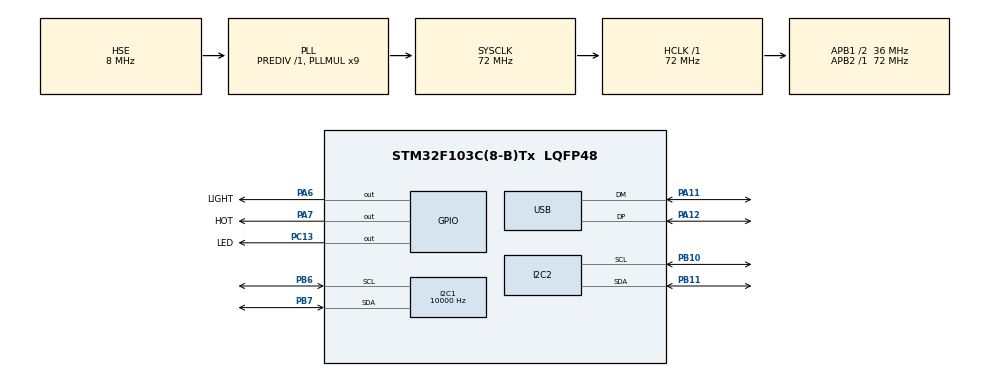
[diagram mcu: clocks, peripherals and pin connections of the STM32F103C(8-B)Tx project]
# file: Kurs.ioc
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I2C1.ClockSpeed=10000
Mcu.Family=STM32F1
Mcu.Name=STM32F103C(8-B)Tx
Mcu.Package=LQFP48
NVIC.PriorityGroup=NVIC_PRIORITYGROUP_4
NVIC.USB_LP_CAN1_RX0_IRQn=true\:0\:0\:false\:false\:true\:false\:true
PA11.Mode=Device
PA11.Signal=USB_DM
PA12.Mode=Device
PA12.Signal=USB_DP
PA13.Mode=Serial_Wire
PA13.Signal=SYS_JTMS-SWDIO
PA14.Mode=Serial_Wire
PA14.Signal=SYS_JTCK-SWCLK
PA6.GPIO_Label=LIGHT
PA6.Signal=GPIO_Output
PA7.GPIO_Label=HOT
PA7.Signal=GPIO_Output
PB10.Mode=I2C
PB10.Signal=I2C2_SCL
PB11.Mode=I2C
PB11.Signal=I2C2_SDA
PB6.Mode=I2C
PB6.Signal=I2C1_SCL
PB7.Mode=I2C
PB7.Signal=I2C1_SDA
PC13-TAMPER-RTC.GPIO_Label=LED
PC13-TAMPER-RTC.PinState=GPIO_PIN_RESET
PC13-TAMPER-RTC.Signal=GPIO_Output
PD0-OSC_IN.Mode=HSE-External-Oscillator
PD0-OSC_IN.Signal=RCC_OSC_IN
PD1-OSC_OUT.Mode=HSE-External-Oscillator
PD1-OSC_OUT.Signal=RCC_OSC_OUT
ProjectManager.HeapSize=0x200
ProjectManager.StackSize=0x400
ProjectManager.TargetToolchain=STM32CubeIDE
RCC.AHBFreq_Value=72000000
RCC.APB1CLKDivider=RCC_HCLK_DIV2
RCC.APB1Freq_Value=36000000
RCC.APB1TimFreq_Value=72000000
RCC.APB2Freq_Value=72000000
RCC.APB2TimFreq_Value=72000000
RCC.HCLKFreq_Value=72000000
RCC.PLLMUL=RCC_PLL_MUL9
RCC.PLLSourceVirtual=RCC_PLLSOURCE_HSE
RCC.SYSCLKFreq_VALUE=72000000
RCC.SYSCLKSource=RCC_SYSCLKSOURCE_PLLCLK
RCC.USBFreq_Value=48000000
RCC.USBPrescaler=RCC_USBCLKSOURCE_PLL_DIV1_5
USB_DEVICE.CLASS_NAME_FS=CDC
USB_DEVICE.VirtualMode=Cdc
USB_DEVICE.VirtualModeFS=Cdc_FS
VP_USB_DEVICE_VS_USB_DEVICE_CDC_FS.Mode=CDC_FS
board=custom

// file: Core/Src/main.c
/* USER CODE BEGIN Header */
/**
 ******************************************************************************
 * @file           : main.c
 * @brief          : Main program body
 ******************************************************************************
 * @attention
 *
 * <h2><center>&copy; Copyright (c) 2020 STMicroelectronics.
 * All rights reserved.</center></h2>
 *
 * This software component is licensed by ST under BSD 3-Clause license,
 * the "License"; You may not use this file except in compliance with the
 * License. You may obtain a copy of the License at:
 *                        opensource.org/licenses/BSD-3-Clause
 *
 ******************************************************************************
 */
/* USER CODE END Header */
#include "main.h"
#include "i2c.h"
#include "usb_device.h"
#include "gpio.h"

/* USER CODE BEGIN Includes */
#include "usbd_cdc_if.h"
/* USER CODE END Includes */

/* USER CODE BEGIN PV */

extern I2C_HandleTypeDef hi2c1;
uint8_t I2C_Buffer[8];
char str_tx[64];

/* USER CODE END PV */

void SystemClock_Config(void);

int main(void)
    {
    /* USER CODE BEGIN 1 */

    uint16_t raw_temper;
    uint16_t raw_light;
    float temper;
    float light;
    char c;

    /* USER CODE END 1 */

    /* MCU Configuration--------------------------------------------------------*/

    /* Reset of all peripherals, Initializes the Flash interface and the Systick. */
    HAL_Init();

    /* Configure the system clock */
    SystemClock_Config();

    /* Initialize all configured peripherals */
    MX_GPIO_Init();
    MX_I2C1_Init();
    MX_I2C2_Init();
    MX_USB_DEVICE_Init();
    /* USER CODE BEGIN 2 */

    I2C_Buffer[0] = 0b00010000;
    I2C_WriteBuffer(hi2c1, 0x46, 1);

    I2C_Buffer [0] = 0xD0;
    I2C_WriteBuffer(hi2c1, 0xEC, 1);
    I2C_ReadBuffer(hi2c1, 0xEC, 1);
    raw_temper = I2C_Buffer[0];

    HAL_Delay(500);

    /* Infinite loop */
    while (1)
	{

	/* USER CODE BEGIN 3 */
//	HAL_Delay(5000);
//	HAL_GPIO_TogglePin(LED_GPIO_Port, LED_Pin);
//
//	sprintf(str_tx,
//		"\r\n=========================\r\nScanning I2C bus:\r\n");
//	CDC_Transmit_FS((uint8_t*) str_tx, strlen(str_tx));
//
//	HAL_StatusTypeDef result;
//	uint8_t i;
//	for (i = 1; i < 128; i++)
//	    {
//	    /*
//	     * the HAL wants a left aligned i2c address
//	     * &hi2c1 is the handle
//	     * (uint16_t)(i<<1) is the i2c address left aligned
//	     * retries 2
//	     * timeout 2
//	     */
//	    result = HAL_I2C_IsDeviceReady(&hi2c1, (uint16_t) (i << 1), 2, 2);
//	    if (result != HAL_OK) // HAL_ERROR or HAL_BUSY or HAL_TIMEOUT
//		{
//		sprintf(str_tx, "-");
//		CDC_Transmit_FS((uint8_t*) str_tx, strlen(str_tx));
//		// No ACK received at that address
//		}
//	    if (result == HAL_OK)
//		{
//		sprintf(str_tx, "0x%X", i);
//		CDC_Transmit_FS((uint8_t*) str_tx, strlen(str_tx));
//		// Received an ACK at that address
//		}
//	    }
	I2C_ReadBuffer(hi2c1, 0x46, 2);
	raw_light = ((uint16_t) I2C_Buffer[0] << 8) | I2C_Buffer[1];
	light = (float) raw_light / 1.2;
	sprintf(str_tx, "Light 1: %.1f Lx\n", light);
	if (light <= 100)
	    {

	    HAL_GPIO_WritePin(LIGHT_GPIO_Port, LIGHT_Pin, SET);

	    }
	else
	    {

	    HAL_GPIO_WritePin(LIGHT_GPIO_Port, LIGHT_Pin, RESET);

	    }
	CDC_Transmit_FS((uint8_t*) str_tx, strlen(str_tx));
	HAL_Delay(100);
	}
    /* USER CODE END 3 */
    }

void SystemClock_Config(void)
    {
    RCC_OscInitTypeDef RCC_OscInitStruct =
	{
	0
	};
    RCC_ClkInitTypeDef RCC_ClkInitStruct =
	{
	0
	};
    RCC_PeriphCLKInitTypeDef PeriphClkInit =
	{
	0
	};

    /** Initializes the RCC Oscillators according to the specified parameters
     * in the RCC_OscInitTypeDef structure.
     */
    RCC_OscInitStruct.OscillatorType = RCC_OSCILLATORTYPE_HSE;
    RCC_OscInitStruct.HSEState = RCC_HSE_ON;
    RCC_OscInitStruct.HSEPredivValue = RCC_HSE_PREDIV_DIV1;
    RCC_OscInitStruct.HSIState = RCC_HSI_ON;
    RCC_OscInitStruct.PLL.PLLState = RCC_PLL_ON;
    RCC_OscInitStruct.PLL.PLLSource = RCC_PLLSOURCE_HSE;
    RCC_OscInitStruct.PLL.PLLMUL = RCC_PLL_MUL9;
    if (HAL_RCC_OscConfig(&RCC_OscInitStruct) != HAL_OK)
	{
	Error_Handler();
	}
    /** Initializes the CPU, AHB and APB buses clocks
     */
    RCC_ClkInitStruct.ClockType = RCC_CLOCKTYPE_HCLK | RCC_CLOCKTYPE_SYSCLK
	    | RCC_CLOCKTYPE_PCLK1 | RCC_CLOCKTYPE_PCLK2;
    RCC_ClkInitStruct.SYSCLKSource = RCC_SYSCLKSOURCE_PLLCLK;
    RCC_ClkInitStruct.AHBCLKDivider = RCC_SYSCLK_DIV1;
    RCC_ClkInitStruct.APB1CLKDivider = RCC_HCLK_DIV2;
    RCC_ClkInitStruct.APB2CLKDivider = RCC_HCLK_DIV1;

    if (HAL_RCC_ClockConfig(&RCC_ClkInitStruct, FLASH_LATENCY_2) != HAL_OK)
	{
	Error_Handler();
	}
    PeriphClkInit.PeriphClockSelection = RCC_PERIPHCLK_USB;
    PeriphClkInit.UsbClockSelection = RCC_USBCLKSOURCE_PLL_DIV1_5;
    if (HAL_RCCEx_PeriphCLKConfig(&PeriphClkInit) != HAL_OK)
	{
	Error_Handler();
	}
    }

void Error_Handler(void)
    {
    }

/************************ (C) COPYRIGHT STMicroelectronics *****END OF FILE****/
